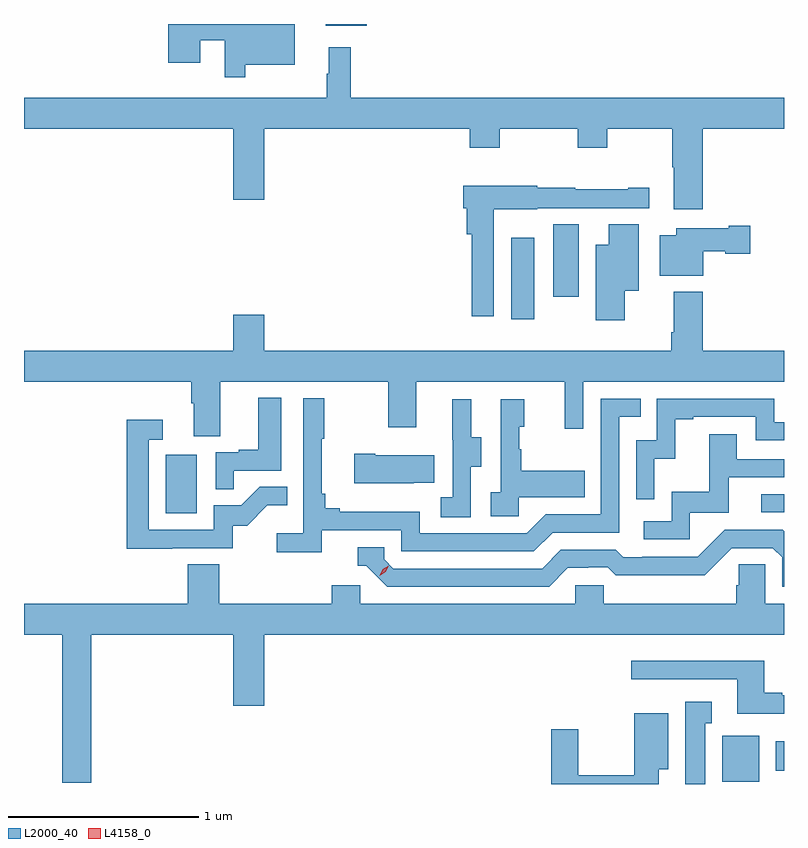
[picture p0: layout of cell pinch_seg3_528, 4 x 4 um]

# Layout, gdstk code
import gdstk
lib = gdstk.Library(unit=1e-6, precision=1e-09)
def R(c, l, rs):  # rectangles x0, y0, x1, y1
    for r in rs: c.add(gdstk.rectangle(r[:2], r[2:], *l))
def P(c, l, *ps):  # polygons
    for p in ps: c.add(gdstk.Polygon(p, *l))
L2000_40 = (2000, 40)
L4158_0 = (4158, 0)

pinch_seg3_528 = lib.new_cell('pinch_seg3_528')
R(pinch_seg3_528, L2000_40, [(1090.658,689.486,1090.855,689.728), (1090.94,689.545,1090.984,689.701), (1087.73,690.9,1087.894,691.207), (1090.863,690.906,1090.984,690.999), (1089.548,691.92,1089.67,692.35), (1089.77,692.04,1089.904,692.42), (1088.573,693.467,1088.788,693.475)])
P(pinch_seg3_528, L2000_40, [(1088.149,693.26),(1088.41,693.26),(1088.41,693.475),(1087.742,693.475),(1087.742,693.27),(1087.912,693.27),(1087.912,693.39),(1088.04,693.39),(1088.04,693.195),(1088.149,693.195)],
  [(1090.556,692.924),(1090.984,692.924),(1090.984,693.088),(1088.705,693.088),(1088.705,693.352),(1088.588,693.352),(1088.588,693.212),(1088.577,693.212),(1088.577,693.088),(1086.984,693.088),(1086.984,692.924),(1088.084,692.924),(1088.084,692.55),(1088.248,692.55),(1088.248,692.924),(1089.329,692.924),(1089.329,692.825),(1089.489,692.825),(1089.489,692.924),(1089.898,692.924),(1089.898,692.825),(1090.053,692.825),(1090.053,692.924),(1090.396,692.924),(1090.396,692.72),(1090.403,692.72),(1090.403,692.499),(1090.556,692.499)],
  [(1089.456,692.501),(1089.684,692.501),(1089.684,692.505),(1090.276,692.505),(1090.276,692.614),(1090.163,692.614),(1090.163,692.604),(1089.884,692.604),(1089.884,692.614),(1089.684,692.614),(1089.684,692.623),(1089.296,692.623),(1089.296,692.505),(1089.314,692.505),(1089.314,692.369),(1089.34,692.369),(1089.34,691.938),(1089.456,691.938)],
  [(1090.147,692.072),(1090.219,692.072),(1090.219,692.42),(1090.061,692.42),(1090.061,692.314),(1089.992,692.314),(1089.992,691.917),(1090.147,691.917)],
  [(1090.558,692.279),(1090.674,692.279),(1090.674,692.267),(1090.807,692.267),(1090.807,692.414),(1090.694,692.414),(1090.694,692.401),(1090.418,692.401),(1090.418,692.362),(1090.331,692.362),(1090.331,692.15),(1090.558,692.15)],
  [(1088.017,691.592),(1088.902,691.592),(1088.902,691.353),(1089.049,691.353),(1089.049,691.592),(1089.83,691.592),(1089.83,691.344),(1089.927,691.344),(1089.927,691.592),(1090.984,691.592),(1090.984,691.756),(1090.556,691.756),(1090.556,692.065),(1090.403,692.065),(1090.403,691.852),(1090.391,691.852),(1090.391,691.756),(1088.248,691.756),(1088.248,691.945),(1088.084,691.945),(1088.084,691.756),(1086.984,691.756),(1086.984,691.592),(1087.865,691.592),(1087.865,691.48),(1087.877,691.48),(1087.877,691.306),(1088.017,691.306)],
  [(1088.087,691.125),(1088.338,691.125),(1088.338,691.507),(1088.216,691.507),(1088.216,691.234),(1088.113,691.234),(1088.113,691.221),(1087.992,691.221),(1087.992,691.027),(1088.087,691.027)],
  [(1088.552,690.81),(1088.97,690.81),(1088.97,690.699),(1089.667,690.699),(1089.766,690.798),(1090.116,690.798),(1090.116,691.407),(1090.229,691.407),(1090.229,691.503),(1090.02,691.503),(1090.02,690.894),(1089.729,690.894),(1089.63,690.795),(1089.066,690.795),(1089.066,690.907),(1088.647,690.907),(1088.647,690.926),(1088.57,690.926),(1088.57,691.003),(1088.551,691.003),(1088.551,691.291),(1088.563,691.291),(1088.563,691.504),(1088.454,691.504),(1088.454,690.796),(1088.313,690.796),(1088.313,690.694),(1088.552,690.694)],
  [(1090.302,691.187),(1090.412,691.187),(1090.412,691.395),(1090.507,691.395),(1090.507,691.407),(1090.836,691.407),(1090.836,691.284),(1090.984,691.284),(1090.984,691.38),(1090.932,691.38),(1090.932,691.503),(1090.314,691.503),(1090.314,691.284),(1090.206,691.284),(1090.206,690.975),(1090.302,690.975)],
  [(1089.336,691.144),(1089.391,691.144),(1089.391,691.299),(1089.337,691.299),(1089.337,691.501),(1089.239,691.501),(1089.239,691.287),(1089.24,691.287),(1089.24,690.983),(1089.177,690.983),(1089.177,690.88),(1089.336,690.88)],
  [(1089.588,690.983),(1089.935,690.983),(1089.935,691.123),(1089.601,691.123),(1089.601,691.238),(1089.591,691.238),(1089.591,691.356),(1089.616,691.356),(1089.616,691.501),(1089.492,691.501),(1089.492,691.01),(1089.441,691.01),(1089.441,690.885),(1089.588,690.885)],
  [(1087.763,690.717),(1088.082,690.717),(1088.082,690.834),(1088.158,690.834),(1088.265,690.941),(1088.369,690.941),(1088.369,691.04),(1088.226,691.04),(1088.128,690.942),(1087.983,690.942),(1087.983,690.813),(1087.641,690.813),(1087.641,691.287),(1087.714,691.287),(1087.714,691.393),(1087.525,691.393),(1087.525,690.712),(1087.763,690.712)],
  [(1090.488,690.903),(1090.693,690.903),(1090.693,691.089),(1090.984,691.089),(1090.984,691.185),(1090.735,691.185),(1090.735,691.315),(1090.591,691.315),(1090.591,691.012),(1090.392,691.012),(1090.392,690.858),(1090.245,690.858),(1090.245,690.762),(1090.488,690.762)],
  [(1089.035,691.061),(1089.143,691.061),(1089.143,691.204),(1088.833,691.204),(1088.833,691.212),(1088.721,691.212),(1088.721,691.058),(1089.035,691.058)],
  [(1089.847,690.612),(1089.954,690.612),(1089.954,690.615),(1090.057,690.615),(1090.099,690.573),(1090.332,690.573),(1090.332,690.575),(1090.568,690.575),(1090.71,690.717),(1090.926,690.717),(1090.974,690.669),(1090.974,690.513),(1090.984,690.513),(1090.984,690.806),(1090.977,690.813),(1090.671,690.813),(1090.53,690.672),(1090.237,690.672),(1090.237,690.669),(1090.138,690.669),(1090.099,690.708),(1089.81,690.708),(1089.711,690.609),(1088.928,690.609),(1088.88,690.657),(1088.88,690.72),(1088.741,690.72),(1088.741,690.624),(1088.784,690.624),(1088.895,690.513),(1089.748,690.513)],
  [(1087.337,690.26),(1088.084,690.26),(1088.084,689.886),(1088.248,689.886),(1088.248,690.26),(1090.984,690.26),(1090.984,690.424),(1090.884,690.424),(1090.884,690.632),(1090.747,690.632),(1090.747,690.522),(1090.733,690.522),(1090.733,690.424),(1090.035,690.424),(1090.035,690.522),(1089.885,690.522),(1089.885,690.424),(1088.754,690.424),(1088.754,690.522),(1088.603,690.522),(1088.603,690.424),(1088.012,690.424),(1088.012,690.632),(1087.847,690.632),(1087.847,690.424),(1086.984,690.424),(1086.984,690.26),(1087.184,690.26),(1087.184,689.481),(1087.337,689.481)],
  [(1090.984,689.943),(1090.975,689.943),(1090.975,689.956),(1090.879,689.956),(1090.879,690.124),(1090.179,690.124),(1090.179,690.027),(1090.739,690.027),(1090.739,689.846),(1090.984,689.846)],
  [(1090.57,689.795),(1090.603,689.795),(1090.603,689.908),(1090.463,689.908),(1090.463,689.475),(1090.57,689.475)],
  [(1090.324,689.552),(1090.375,689.552),(1090.375,689.848),(1090.196,689.848),(1090.196,689.522),(1089.9,689.522),(1089.9,689.764),(1089.758,689.764),(1089.758,689.475),(1090.324,689.475)])
P(pinch_seg3_528, L4158_0, [(1088.857,690.571),(1088.857,690.571),(1088.873,690.604),(1088.903,690.624),(1088.904,690.624),(1088.904,690.623),(1088.888,690.591),(1088.857,690.571)])

lib.write_gds('pinch_seg3_528.gds')
